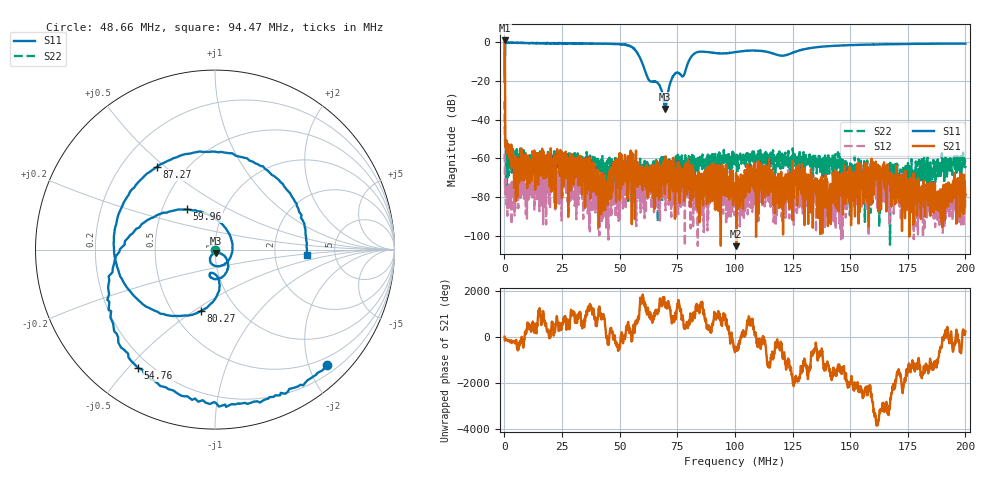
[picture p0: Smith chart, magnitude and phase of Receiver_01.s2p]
! 12-May-26 12:04:19 PM
! E:\REC_VNA_20260512\RECEIVER_01.S2P
! CHANNEL.1
! TR.MEASUREMENT
! CORRECTED.DATA
# GHZ S RI R 50.0
! FREQ.GHZ  S11RE  S11IM  S21RE  S21IM  S12RE  S12IM  S22RE  S22IM
!; PortSelection: Port_12
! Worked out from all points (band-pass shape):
!   2000 points, 50 kHz to 200 MHz, reference 50 ohm
!   highest |S21| = 0.91 dB at 150 kHz (marker M1); lowest = -105.3 dB at 100.6 MHz (marker M2)
!   |S21| within 3 dB of the highest: 133.4 kHz to 165.8 kHz (32.37 kHz wide, 21.6 % of centre)
!   lowest |S11| = -34.4 dB at 69.77 MHz (marker M3), VSWR 1.04, Z = 50.3 - j1.89 ohm
!   |S11| at or under -10 dB: start of sweep to 118.4 kHz; 59.53 MHz to 79.88 MHz (20.36 MHz wide, 29.2 % of centre)
!   |S22| runs from -104.6 to -30.5 dB; largest |S21 - S12| = 1.1
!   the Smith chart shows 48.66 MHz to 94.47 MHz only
!   S11 on the Smith chart (normalised r, x): 48.66 MHz: 0.36, -2.32; 54.76 MHz: 0.15, -0.53; 59.96 MHz: 0.67, +0.32; 80.27 MHz: 0.68, -0.53; 87.27 MHz: 0.35, +0.47; 94.47 MHz: 3.08, -0.26
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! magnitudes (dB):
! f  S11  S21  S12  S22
! 50 kHz  -20.5  -17.2  -57.6  -30.5
! 150 kHz  -5.1  0.9  -62.3  -45.6
! 1.35 MHz  -0.3  -52.4  -77.3  -69.7
! 4.951 MHz  -0.3  -82.1  -71.5  -59.4
! 23.26 MHz  -0.5  -59.6  -66.5  -60.3
! 33.46 MHz  -0.8  -60.6  -76.0  -59.1
! 43.96 MHz  -0.8  -72.0  -86.7  -63.7
! 48.66 MHz  -1.0  -75.3  -77.1  -60.0
! 54.76 MHz  -2.1  -56.0  -69.3  -60.3
! 59.96 MHz  -11.3  -76.4  -79.4  -63.4
! 66.77 MHz  -21.3  -62.1  -69.0  -63.5
! 69.77 MHz  -34.4  -68.5  -72.4  -61.8
! 73.17 MHz  -17.5  -59.7  -83.6  -65.3
! 80.27 MHz  -9.0  -68.5  -74.7  -61.1
! 87.27 MHz  -5.0  -66.1  -77.5  -64.0
! 94.47 MHz  -5.8  -63.4  -71.2  -58.7
! 100.1 MHz  -5.1  -79.1  -79.0  -61.1
! 100.6 MHz  -5.1  -105.3  -79.7  -58.2
! 107.6 MHz  -4.3  -73.7  -87.7  -58.4
! 133.4 MHz  -2.9  -76.1  -75.7  -62.9
! 166.7 MHz  -1.0  -71.6  -72.7  -69.7
! 200 MHz  -0.7  -78.8  -80.0  -63.9
